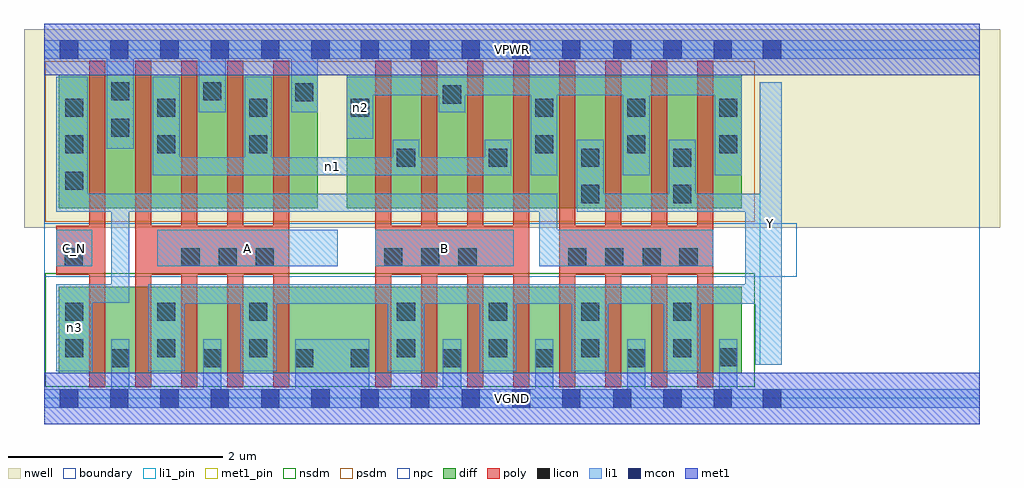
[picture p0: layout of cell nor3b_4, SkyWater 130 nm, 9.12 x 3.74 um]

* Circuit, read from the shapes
.subckt nor3b_4 A B C_N VGND VPWR Y n1 n2 n3
XM1 VGND C_N n3 VSUBS sky130_fd_pr__nfet_01v8 w=0.81 l=0.15
XM2 Y A VGND VSUBS sky130_fd_pr__nfet_01v8 w=0.81 l=0.15 m=4
XM3 Y B VGND VSUBS sky130_fd_pr__nfet_01v8 w=0.81 l=0.15 m=4
XM4 Y n3 VGND VSUBS sky130_fd_pr__nfet_01v8 w=0.81 l=0.15 m=4
XM5 VPWR C_N n3 n4 sky130_fd_pr__pfet_01v8 w=1.25 l=0.15
XM6 n1 A VPWR n4 sky130_fd_pr__pfet_01v8 w=1.25 l=0.15 m=4
XM7 n1 B n2 n4 sky130_fd_pr__pfet_01v8 w=1.25 l=0.15 m=4
XM8 Y n3 n2 n4 sky130_fd_pr__pfet_01v8 w=1.25 l=0.15 m=4
.ends

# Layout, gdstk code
import gdstk
lib = gdstk.Library(unit=1e-6, precision=1e-09)
def R(c, l, rs):  # rectangles x0, y0, x1, y1
    for r in rs: c.add(gdstk.rectangle(r[:2], r[2:], *l))
def A(c, l, x, y, w, h, nx, ny, dx, dy):  # array of equal rectangles
    R(c, l, [(x+i*dx, y+j*dy, x+i*dx+w, y+j*dy+h) for i in range(nx) for j in range(ny)])
nwell = (64, 20)
diff = (65, 20)
poly = (66, 20)
licon = (66, 44)
li1_pin = (67, 16)
li1 = (67, 20)
mcon = (67, 44)
met1_pin = (68, 16)
met1 = (68, 20)
nsdm = (93, 44)
psdm = (94, 20)
npc = (95, 20)
boundary = (235, 4)

nor3b_4 = lib.new_cell('nor3b_4')
R(nor3b_4, nwell, [(-0.19,1.595,8.93,3.45), (0,1.595,8.74,3.45)])
R(nor3b_4, diff, [(0.135,0.235,6.515,1.045), (0.135,1.775,2.555,3.025), (2.825,1.775,6.515,3.025)])
A(nor3b_4, poly, 0.42, 0.105, 0.15, 3.05, 5, 1, 0.43, 0)
A(nor3b_4, poly, 3.09, 0.105, 0.15, 3.05, 8, 1, 0.43, 0)
R(nor3b_4, poly, [(0.11,1.155,0.57,1.615), (0.85,1.155,2.29,1.615), (3.09,1.155,4.53,1.615), (4.81,1.155,6.25,1.615)])
A(nor3b_4, licon, 0.625, 0.29, 0.17, 0.17, 3, 1, 0.86, 0)
A(nor3b_4, licon, 2.865, 0.29, 0.17, 0.17, 4, 1, 0.86, 0)
A(nor3b_4, licon, 0.195, 0.385, 0.17, 0.17, 3, 2, 0.86, 0.34)
A(nor3b_4, licon, 3.295, 0.385, 0.17, 0.17, 4, 2, 0.86, 0.34)
A(nor3b_4, licon, 3.295, 2.165, 0.17, 0.17, 4, 1, 0.86, 0)
A(nor3b_4, licon, 0.195, 2.29, 0.17, 0.17, 3, 2, 0.86, 0.34)
A(nor3b_4, licon, 4.585, 2.29, 0.17, 0.17, 3, 2, 0.86, 0.34)
R(nor3b_4, licon, [(6.305,0.3,6.475,0.47), (0.19,1.235,0.36,1.405), (1.28,1.235,1.45,1.405), (1.63,1.235,1.8,1.405), (1.975,1.235,2.145,1.405), (3.175,1.235,3.345,1.405), (3.52,1.235,3.69,1.405), (3.87,1.235,4.04,1.405), (4.895,1.235,5.065,1.405), (5.24,1.235,5.41,1.405), (5.59,1.235,5.76,1.405), (5.935,1.235,6.105,1.405), (5.015,1.825,5.185,1.995), (5.875,1.825,6.045,1.995), (0.195,1.95,0.365,2.12), (0.625,2.445,0.795,2.615), (2.865,2.63,3.035,2.8), (3.725,2.755,3.895,2.925), (2.345,2.775,2.515,2.945), (0.625,2.785,0.795,2.955), (1.485,2.785,1.655,2.955)])
R(nor3b_4, li1_pin, [(6.685,0.315,6.89,2.955), (0.11,1.235,0.45,1.575), (1.055,1.235,2.74,1.575), (3.09,1.235,4.385,1.575)])
A(nor3b_4, li1, 3.725, -0.085, 0.17, 0.64, 4, 1, 0.86, 0)
A(nor3b_4, li1, 0.11, 0.255, 0.34, 0.81, 3, 1, 0.86, 0)
A(nor3b_4, li1, 3.21, 0.255, 0.34, 0.81, 4, 1, 0.86, 0)
A(nor3b_4, li1, 4.545, 2.085, 0.25, 0.92, 3, 1, 0.86, 0)
R(nor3b_4, li1, [(0,-0.085,8.74,0.085), (0.625,-0.085,0.795,0.555), (1.485,-0.085,1.655,0.555), (2.345,-0.085,3.035,0.555), (6.645,0.315,6.89,1.915), (6.685,0.315,6.89,2.955), (0.97,0.885,6.89,1.065), (6.55,0.885,6.89,1.915), (0.11,0.895,0.795,1.065), (0.625,0.895,0.795,1.915), (0.11,1.235,0.45,1.575), (1.055,1.235,2.74,1.575), (3.09,1.235,4.385,1.575), (4.625,1.235,6.25,1.575), (4.625,1.235,4.795,1.915), (0.11,1.745,4.795,1.915), (0.11,1.745,0.405,3.005), (4.975,1.745,6.89,1.915), (4.975,1.745,5.225,2.415), (5.835,1.745,6.085,2.415), (1.015,2.085,4.365,2.255), (1.015,2.085,1.265,3.005), (1.875,2.085,2.125,3.005), (3.255,2.085,3.505,2.415), (4.115,2.085,4.365,2.415), (0.585,2.335,0.835,3.345), (2.825,2.425,3.075,3.005), (1.445,2.675,1.695,3.345), (2.305,2.675,2.555,3.345), (3.685,2.675,3.935,3.005), (2.825,2.835,6.515,3.005), (0,3.175,8.74,3.345)])
A(nor3b_4, mcon, 0.145, -0.085, 0.17, 0.17, 6, 2, 0.47, 3.26)
A(nor3b_4, mcon, 3.9, -0.085, 0.17, 0.17, 3, 2, 0.47, 3.26)
A(nor3b_4, mcon, 5.315, -0.085, 0.17, 0.17, 3, 2, 0.47, 3.26)
R(nor3b_4, mcon, [(2.955,-0.085,3.125,0.085), (3.425,-0.085,3.595,0.085), (6.715,-0.085,6.885,0.085), (2.955,3.175,3.125,3.345), (3.425,3.175,3.595,3.345), (6.715,3.175,6.885,3.345)])
R(nor3b_4, met1_pin, [(0,-0.24,8.74,0.24), (0,3.02,8.74,3.5)])
R(nor3b_4, met1, [(0,-0.24,8.74,0.24), (0,3.02,8.74,3.5)])
R(nor3b_4, nsdm, [(0.01,0.11,6.64,1.17)])
R(nor3b_4, psdm, [(0.01,1.65,6.64,3.15)])
R(nor3b_4, npc, [(0,1.135,7.03,1.635)])
R(nor3b_4, boundary, [(0,0,8.74,3.26)])
nor3b_4.add(gdstk.Label('A', (1.897,1.405), layer=67, texttype=5))
nor3b_4.add(gdstk.Label('B', (3.737,1.405), layer=67, texttype=5))
nor3b_4.add(gdstk.Label('C_N', (0.28,1.405), layer=67, texttype=5))
nor3b_4.add(gdstk.Label('Y', (6.787,1.635), layer=67, texttype=5))
nor3b_4.add(gdstk.Label('n3', (0.28,0.66), layer=67, texttype=5))
nor3b_4.add(gdstk.Label('n1', (2.69,2.17), layer=67, texttype=5))
nor3b_4.add(gdstk.Label('n2', (2.95,2.715), layer=67, texttype=5))
nor3b_4.add(gdstk.Label('VPWR', (4.37,3.26), layer=68, texttype=5))
nor3b_4.add(gdstk.Label('VGND', (4.37,0), layer=68, texttype=5))
nor3b_4.add(gdstk.Label('A', (1.897,1.405), layer=67, texttype=16))
nor3b_4.add(gdstk.Label('B', (3.737,1.405), layer=67, texttype=16))
nor3b_4.add(gdstk.Label('C_N', (0.28,1.405), layer=67, texttype=16))
nor3b_4.add(gdstk.Label('Y', (6.787,1.635), layer=67, texttype=16))
nor3b_4.add(gdstk.Label('VPWR', (4.37,3.26), layer=68, texttype=16))
nor3b_4.add(gdstk.Label('VGND', (4.37,0), layer=68, texttype=16))

lib.write_gds('nor3b_4.gds')
